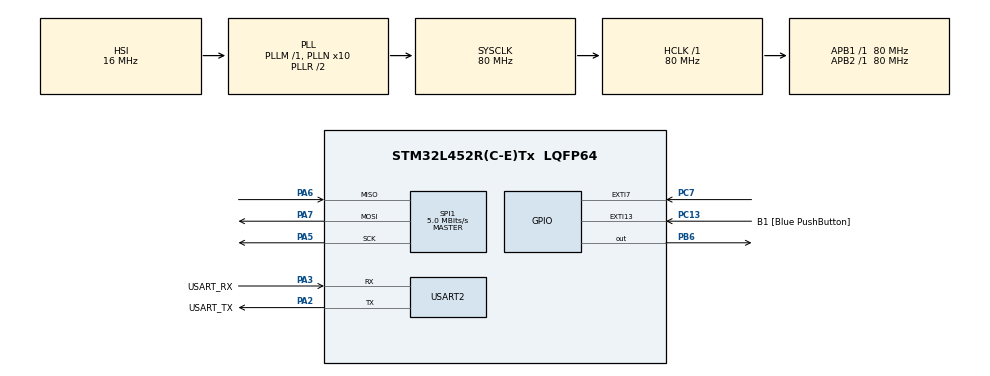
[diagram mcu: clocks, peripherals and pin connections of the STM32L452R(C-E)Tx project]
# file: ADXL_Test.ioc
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Mcu.Family=STM32L4
Mcu.Name=STM32L452R(C-E)Tx
Mcu.Package=LQFP64
NVIC.EXTI9_5_IRQn=true\:0\:0\:false\:false\:true\:true\:true
NVIC.PriorityGroup=NVIC_PRIORITYGROUP_4
NVIC.SPI1_IRQn=true\:0\:0\:false\:false\:true\:true\:true
PA13\ (JTMS/SWDIO).GPIO_Label=TMS
PA13\ (JTMS/SWDIO).Mode=Serial_Wire
PA13\ (JTMS/SWDIO).Signal=SYS_JTMS-SWDIO
PA14\ (JTCK/SWCLK).GPIO_Label=TCK
PA14\ (JTCK/SWCLK).Mode=Serial_Wire
PA14\ (JTCK/SWCLK).Signal=SYS_JTCK-SWCLK
PA2.GPIO_Label=USART_TX
PA2.GPIO_Mode=GPIO_MODE_AF_PP
PA2.GPIO_PuPd=GPIO_NOPULL
PA2.GPIO_Speed=GPIO_SPEED_FREQ_VERY_HIGH
PA2.Mode=Asynchronous
PA2.Signal=USART2_TX
PA3.GPIO_Label=USART_RX
PA3.GPIO_Mode=GPIO_MODE_AF_PP
PA3.GPIO_PuPd=GPIO_NOPULL
PA3.GPIO_Speed=GPIO_SPEED_FREQ_VERY_HIGH
PA3.Mode=Asynchronous
PA3.Signal=USART2_RX
PA5.Mode=Full_Duplex_Master
PA5.Signal=SPI1_SCK
PA6.Mode=Full_Duplex_Master
PA6.Signal=SPI1_MISO
PA7.Mode=Full_Duplex_Master
PA7.Signal=SPI1_MOSI
PB3\ (JTDO/TRACESWO).GPIO_Label=SWO
PB3\ (JTDO/TRACESWO).Signal=SYS_JTDO-SWO
PB6.PinState=GPIO_PIN_SET
PB6.Signal=GPIO_Output
PC13.GPIO_Label=B1 [Blue PushButton]
PC13.GPIO_ModeDefaultEXTI=GPIO_MODE_IT_FALLING
PC13.GPIO_PuPd=GPIO_NOPULL
PC13.Signal=GPXTI13
PC14-OSC32_IN\ (PC14).Mode=LSE-External-Oscillator
PC14-OSC32_IN\ (PC14).Signal=RCC_OSC32_IN
PC15-OSC32_OUT\ (PC15).Mode=LSE-External-Oscillator
PC15-OSC32_OUT\ (PC15).Signal=RCC_OSC32_OUT
PC7.GPIO_ModeDefaultEXTI=GPIO_MODE_IT_RISING
PC7.Signal=GPXTI7
PH0-OSC_IN\ (PH0).Signal=RCC_OSC_IN
PH1-OSC_OUT\ (PH1).Signal=RCC_OSC_OUT
ProjectManager.HeapSize=0x200
ProjectManager.StackSize=0x400
ProjectManager.TargetToolchain=STM32CubeIDE
RCC.ADCFreq_Value=64000000
RCC.AHBFreq_Value=80000000
RCC.APB1Freq_Value=80000000
RCC.APB1TimFreq_Value=80000000
RCC.APB2Freq_Value=80000000
RCC.APB2TimFreq_Value=80000000
RCC.CortexFreq_Value=80000000
RCC.HCLKFreq_Value=80000000
RCC.HSE_VALUE=8000000
RCC.HSI48_VALUE=48000000
RCC.HSI_VALUE=16000000
RCC.MSI_VALUE=4000000
RCC.PLLN=10
RCC.PLLSourceVirtual=RCC_PLLSOURCE_HSI
RCC.PREFETCH_ENABLE=1
RCC.SYSCLKFreq_VALUE=80000000
RCC.SYSCLKSource=RCC_SYSCLKSOURCE_PLLCLK
RCC.USBFreq_Value=64000000
RCC.VCOOutputFreq_Value=160000000
SPI1.BaudRatePrescaler=SPI_BAUDRATEPRESCALER_16
SPI1.CalculateBaudRate=5.0 MBits/s
SPI1.DataSize=SPI_DATASIZE_8BIT
SPI1.Direction=SPI_DIRECTION_2LINES
SPI1.Mode=SPI_MODE_MASTER
SPI1.VirtualType=VM_MASTER
USART2.VirtualMode-Asynchronous=VM_ASYNC
board=NUCLEO-L452RE

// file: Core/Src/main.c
/* USER CODE BEGIN Header */
/**
  ******************************************************************************
  * @file           : main.c
  * @brief          : Main program body
  ******************************************************************************
  * @attention
  *
  * <h2><center>&copy; Copyright (c) 2021 STMicroelectronics.
  * All rights reserved.</center></h2>
  *
  * This software component is licensed by ST under BSD 3-Clause license,
  * the "License"; You may not use this file except in compliance with the
  * License. You may obtain a copy of the License at:
  *                        opensource.org/licenses/BSD-3-Clause
  *
  ******************************************************************************
  */
/* USER CODE END Header */
#include "main.h"

/* USER CODE BEGIN Includes */
#include "accel.h"

// for debugging
#include <stdio.h>
#include <string.h>
/* USER CODE END Includes */

SPI_HandleTypeDef hspi1;

UART_HandleTypeDef huart2;

void SystemClock_Config(void);
static void MX_GPIO_Init(void);
static void MX_USART2_UART_Init(void);
static void MX_SPI1_Init(void);

/* USER CODE BEGIN 0 */
volatile uint8_t spi_xmit_flag = 0;
volatile uint8_t spi_recv_flag = 0;
volatile uint8_t fifo_read_flag = 0;

GPIO_Pin chip_select;
SPI_Comm accel_spi;
uint8_t fifo_buffer[FIFO_SAMPLES];
size_t fifo_buffer_size;

/* USER CODE END 0 */

int main(void)
{

  /* MCU Configuration--------------------------------------------------------*/

  /* Reset of all peripherals, Initializes the Flash interface and the Systick. */
  HAL_Init();

  /* Configure the system clock */
  SystemClock_Config();

  /* Initialize all configured peripherals */
  MX_GPIO_Init();
  MX_USART2_UART_Init();
  MX_SPI1_Init();
  /* USER CODE BEGIN 2 */

  // initialize SPI
  chip_select.port = GPIOB;
  chip_select.pin = GPIO_PIN_6;
  accel_spi.handle = &hspi1;
  accel_spi.cs = &chip_select;

  fifo_buffer_size = sizeof(fifo_buffer);

  stream_start(accel_spi, FIFO_SAMPLES);
  fifo_data(accel_spi, fifo_buffer, fifo_buffer_size);

  /* USER CODE END 2 */

  /* Infinite loop */
  while (1)
  {

    /* USER CODE BEGIN 3 */
	  //reg_read(accel_spi, (uint8_t) ADXL372_FIFO_DATA, (uint8_t*) &fifo_buffer);

	  HAL_Delay(10);
  }
  /* USER CODE END 3 */
}

void SystemClock_Config(void)
{
  RCC_OscInitTypeDef RCC_OscInitStruct = {0};
  RCC_ClkInitTypeDef RCC_ClkInitStruct = {0};
  RCC_PeriphCLKInitTypeDef PeriphClkInit = {0};

  /** Initializes the RCC Oscillators according to the specified parameters
  * in the RCC_OscInitTypeDef structure.
  */
  RCC_OscInitStruct.OscillatorType = RCC_OSCILLATORTYPE_HSI;
  RCC_OscInitStruct.HSIState = RCC_HSI_ON;
  RCC_OscInitStruct.HSICalibrationValue = RCC_HSICALIBRATION_DEFAULT;
  RCC_OscInitStruct.PLL.PLLState = RCC_PLL_ON;
  RCC_OscInitStruct.PLL.PLLSource = RCC_PLLSOURCE_HSI;
  RCC_OscInitStruct.PLL.PLLM = 1;
  RCC_OscInitStruct.PLL.PLLN = 10;
  RCC_OscInitStruct.PLL.PLLP = RCC_PLLP_DIV7;
  RCC_OscInitStruct.PLL.PLLQ = RCC_PLLQ_DIV2;
  RCC_OscInitStruct.PLL.PLLR = RCC_PLLR_DIV2;
  if (HAL_RCC_OscConfig(&RCC_OscInitStruct) != HAL_OK)
  {
    Error_Handler();
  }
  /** Initializes the CPU, AHB and APB buses clocks
  */
  RCC_ClkInitStruct.ClockType = RCC_CLOCKTYPE_HCLK|RCC_CLOCKTYPE_SYSCLK
                              |RCC_CLOCKTYPE_PCLK1|RCC_CLOCKTYPE_PCLK2;
  RCC_ClkInitStruct.SYSCLKSource = RCC_SYSCLKSOURCE_PLLCLK;
  RCC_ClkInitStruct.AHBCLKDivider = RCC_SYSCLK_DIV1;
  RCC_ClkInitStruct.APB1CLKDivider = RCC_HCLK_DIV1;
  RCC_ClkInitStruct.APB2CLKDivider = RCC_HCLK_DIV1;

  if (HAL_RCC_ClockConfig(&RCC_ClkInitStruct, FLASH_LATENCY_4) != HAL_OK)
  {
    Error_Handler();
  }
  PeriphClkInit.PeriphClockSelection = RCC_PERIPHCLK_USART2;
  PeriphClkInit.Usart2ClockSelection = RCC_USART2CLKSOURCE_PCLK1;
  if (HAL_RCCEx_PeriphCLKConfig(&PeriphClkInit) != HAL_OK)
  {
    Error_Handler();
  }
  /** Configure the main internal regulator output voltage
  */
  if (HAL_PWREx_ControlVoltageScaling(PWR_REGULATOR_VOLTAGE_SCALE1) != HAL_OK)
  {
    Error_Handler();
  }
}

static void MX_SPI1_Init(void)
{

  /* SPI1 parameter configuration*/
  hspi1.Instance = SPI1;
  hspi1.Init.Mode = SPI_MODE_MASTER;
  hspi1.Init.Direction = SPI_DIRECTION_2LINES;
  hspi1.Init.DataSize = SPI_DATASIZE_8BIT;
  hspi1.Init.CLKPolarity = SPI_POLARITY_LOW;
  hspi1.Init.CLKPhase = SPI_PHASE_1EDGE;
  hspi1.Init.NSS = SPI_NSS_SOFT;
  hspi1.Init.BaudRatePrescaler = SPI_BAUDRATEPRESCALER_16;
  hspi1.Init.FirstBit = SPI_FIRSTBIT_MSB;
  hspi1.Init.TIMode = SPI_TIMODE_DISABLE;
  hspi1.Init.CRCCalculation = SPI_CRCCALCULATION_DISABLE;
  hspi1.Init.CRCPolynomial = 7;
  hspi1.Init.CRCLength = SPI_CRC_LENGTH_DATASIZE;
  hspi1.Init.NSSPMode = SPI_NSS_PULSE_ENABLE;
  if (HAL_SPI_Init(&hspi1) != HAL_OK)
  {
    Error_Handler();
  }

}

static void MX_USART2_UART_Init(void)
{

  huart2.Instance = USART2;
  huart2.Init.BaudRate = 115200;
  huart2.Init.WordLength = UART_WORDLENGTH_8B;
  huart2.Init.StopBits = UART_STOPBITS_1;
  huart2.Init.Parity = UART_PARITY_NONE;
  huart2.Init.Mode = UART_MODE_TX_RX;
  huart2.Init.HwFlowCtl = UART_HWCONTROL_NONE;
  huart2.Init.OverSampling = UART_OVERSAMPLING_16;
  huart2.Init.OneBitSampling = UART_ONE_BIT_SAMPLE_DISABLE;
  huart2.AdvancedInit.AdvFeatureInit = UART_ADVFEATURE_NO_INIT;
  if (HAL_UART_Init(&huart2) != HAL_OK)
  {
    Error_Handler();
  }

}

static void MX_GPIO_Init(void)
{
  GPIO_InitTypeDef GPIO_InitStruct = {0};

  /* GPIO Ports Clock Enable */
  __HAL_RCC_GPIOC_CLK_ENABLE();
  __HAL_RCC_GPIOH_CLK_ENABLE();
  __HAL_RCC_GPIOA_CLK_ENABLE();
  __HAL_RCC_GPIOB_CLK_ENABLE();

  /*Configure GPIO pin Output Level */
  HAL_GPIO_WritePin(GPIOB, GPIO_PIN_6, GPIO_PIN_SET);

  /*Configure GPIO pin : B1_Pin */
  GPIO_InitStruct.Pin = B1_Pin;
  GPIO_InitStruct.Mode = GPIO_MODE_IT_FALLING;
  GPIO_InitStruct.Pull = GPIO_NOPULL;
  HAL_GPIO_Init(B1_GPIO_Port, &GPIO_InitStruct);

  /*Configure GPIO pin : PC7 */
  GPIO_InitStruct.Pin = GPIO_PIN_7;
  GPIO_InitStruct.Mode = GPIO_MODE_IT_RISING;
  GPIO_InitStruct.Pull = GPIO_NOPULL;
  HAL_GPIO_Init(GPIOC, &GPIO_InitStruct);

  /*Configure GPIO pin : PB6 */
  GPIO_InitStruct.Pin = GPIO_PIN_6;
  GPIO_InitStruct.Mode = GPIO_MODE_OUTPUT_PP;
  GPIO_InitStruct.Pull = GPIO_NOPULL;
  GPIO_InitStruct.Speed = GPIO_SPEED_FREQ_LOW;
  HAL_GPIO_Init(GPIOB, &GPIO_InitStruct);

  /* EXTI interrupt init*/
  HAL_NVIC_SetPriority(EXTI9_5_IRQn, 0, 0);
  HAL_NVIC_EnableIRQ(EXTI9_5_IRQn);

}

/* USER CODE BEGIN 4 */
void HAL_SPI_TxCpltCallback(SPI_HandleTypeDef * hspi)
{
  // Set CS pin to high and raise flag
  HAL_GPIO_WritePin(GPIOB, GPIO_PIN_6, GPIO_PIN_SET);
  spi_xmit_flag = 1;
}

void printBinary(uint16_t num)
{
	char printstr[1];
	int a;
	uint16_t bit;
	for (int i = 1 << 15; i > 0; i = i/2) {
		bit = (uint16_t)i;
		a = (bit & num) ? 1 : 0;
		sprintf(printstr, "%d", a);
		HAL_UART_Transmit(&huart2, printstr, sizeof(printstr), HAL_MAX_DELAY);
	}
	printstr[0] = ' ';
	HAL_UART_Transmit(&huart2, printstr, sizeof(printstr), HAL_MAX_DELAY);
	return;
}

// This is called when SPI receive is done
void HAL_SPI_RxCpltCallback(SPI_HandleTypeDef * hspi)
{
	if (fifo_read_flag) {
		fifo_read_flag = 0;
		uint8_t dummy = 0;
		//uint8_t tx = (ADXL372_STATUS_1 << 1) | 0x01;
		//HAL_SPI_Transmit(hspi, (uint8_t *)&tx, sizeof(tx), HAL_MAX_DELAY);
		//HAL_SPI_Receive(hspi, (uint8_t *)&dummy, sizeof(dummy), HAL_MAX_DELAY);
		HAL_UART_Transmit(&huart2, fifo_buffer, fifo_buffer_size, HAL_MAX_DELAY);
		reg_read_IT(accel_spi, ADXL372_STATUS_1, &dummy, sizeof(dummy));
	}
	// Set CS pin to high and raise flag
	HAL_GPIO_WritePin(GPIOB, GPIO_PIN_6, GPIO_PIN_SET);
	spi_recv_flag = 1;
}

// ISR for FIFO Full
void HAL_GPIO_EXTI_Callback(uint16_t GPIO_Pin)
{
	/*
	uint8_t dummy = 0;
	reg_read(accel_spi, ADXL372_FIFO_ENTRIES_2, &dummy, sizeof(dummy));
	reg_read(accel_spi, ADXL372_FIFO_ENTRIES_1, &dummy, sizeof(dummy));
	*/
	if(GPIO_Pin == GPIO_PIN_7) {
		fifo_read_flag = 1;
		//fifo_data(accel_spi, fifo_buffer, fifo_buffer_size);
		reg_read_IT(accel_spi, ADXL372_FIFO_DATA, fifo_buffer, fifo_buffer_size);
	}

}
/* USER CODE END 4 */

void Error_Handler(void)
{
  __disable_irq();
  while (1)
  {
  }
}

/************************ (C) COPYRIGHT STMicroelectronics *****END OF FILE****/
